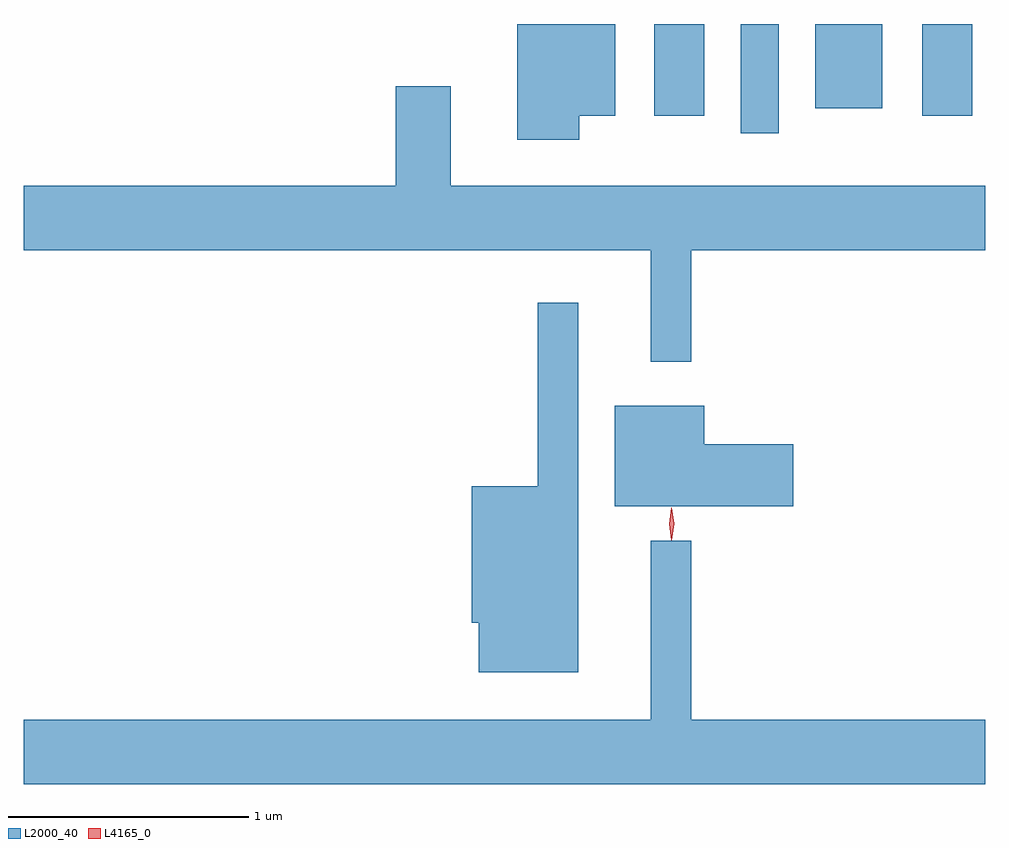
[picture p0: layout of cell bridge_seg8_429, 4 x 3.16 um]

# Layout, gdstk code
import gdstk
lib = gdstk.Library(unit=1e-6, precision=1e-09)
def R(c, l, rs):  # rectangles x0, y0, x1, y1
    for r in rs: c.add(gdstk.rectangle(r[:2], r[2:], *l))
def P(c, l, *ps):  # polygons
    for p in ps: c.add(gdstk.Polygon(p, *l))
L2000_40 = (2000, 40)
L4165_0 = (4165, 0)

bridge_seg8_429 = lib.new_cell('bridge_seg8_429')
R(bridge_seg8_429, L2000_40, [(1009.666,1819.143,1009.824,1819.597), (1009.306,1819.216,1009.514,1819.597), (1010.421,1819.216,1010.629,1819.597), (1009.976,1819.246,1010.254,1819.597)])
P(bridge_seg8_429, L2000_40, [(1008.994,1819.216),(1009.144,1819.216),(1009.144,1819.597),(1008.736,1819.597),(1008.736,1819.116),(1008.994,1819.116)],
  [(1009.459,1818.656),(1010.683,1818.656),(1010.683,1818.924),(1008.459,1818.924),(1008.459,1819.339),(1008.231,1819.339),(1008.231,1818.924),(1006.683,1818.924),(1006.683,1818.656),(1009.291,1818.656),(1009.291,1818.193),(1009.459,1818.193)],
  [(1008.989,1818.438),(1008.821,1818.438),(1008.821,1817.674),(1008.546,1817.674),(1008.546,1817.106),(1008.576,1817.106),(1008.576,1816.901),(1008.989,1816.901)],
  [(1009.884,1817.849),(1009.514,1817.849),(1009.514,1818.009),(1009.141,1818.009),(1009.141,1817.591),(1009.884,1817.591)],
  [(1010.683,1816.704),(1009.459,1816.704),(1009.459,1817.448),(1009.291,1817.448),(1009.291,1816.704),(1006.683,1816.704),(1006.683,1816.436),(1010.683,1816.436)])
P(bridge_seg8_429, L4165_0, [(1009.377,1817.45),(1009.368,1817.518),(1009.377,1817.586),(1009.378,1817.586),(1009.378,1817.586),(1009.388,1817.518),(1009.378,1817.45),(1009.378,1817.45)],
  [(1009.377,1817.453),(1009.368,1817.516),(1009.377,1817.579),(1009.378,1817.58),(1009.378,1817.579),(1009.388,1817.516),(1009.378,1817.453),(1009.378,1817.453)])

lib.write_gds('bridge_seg8_429.gds')
